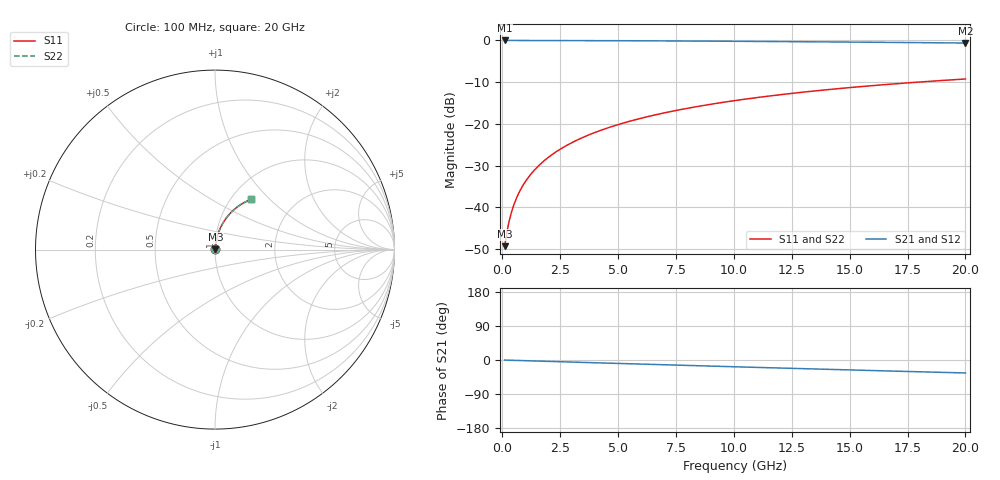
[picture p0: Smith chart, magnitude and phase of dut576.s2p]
! Touchstone file exported from HFSS 2026.1.0
!  File:  C:/ffzhzh/LocalFiles/Ansys_Project_Files/temp_train_BSMRDL_576_1783015595_4048.aedt
!  Generated:  02:08:01 AM Jul  3, 2026
!  Design:  BSMRDL
!  Project:  temp_train_BSMRDL_576_1783015595_4048
! Variables:
!  h_bsmrdl = 3.37um
!  h_ox = 20um
!  h_rdl = 5um
!  h_sub = 80um
!  h_tmrdl = 5um
!  h_tsv = 80um
!  h_via = 3um
!  l_bsmrdl = 465.57um
!  l_sub = 865.57um
!  l_tmrdl = 200um
!  m_sub = 200um
!  pitch = 47.95um
!  r_tsv = 6um
!  s_tmrdl = 10um
!  w_bsmrdl = 19.7um
!  w_sub = 500um
!  w_tmrdl = 12um
!  x_tsv_center1 = 206um
!  x_tsv_center2 = 691.27um
!  x_tsv_center3 = 903.27um
!  x_tsv_center4 = 1388.54um
!  x_tsv_center5 = 1600.54um
!  x_tsv_center6 = 2085.81um
# GHz S MA R 50.000000
! Terminal data exported
! Port[1] = BSM_RDL1_1_T1
! Port[2] = BSM_RDL1_1_T2
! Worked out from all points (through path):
!   200 points, 100 MHz to 20 GHz, reference 50 ohm
!   highest |S21| = -0.02 dB at 100 MHz (marker M1); lowest = -0.6 dB at 20 GHz (marker M2)
!   group delay of S21, straight-line fit = 4.76 ps
!   lowest |S11| = -49.3 dB at 100 MHz (marker M3), VSWR 1.01, Z = 50.3 + j0.215 ohm
!   |S11| at or under -10 dB: start of sweep to 17.96 GHz
!   |S22| runs from -49.3 to -9.3 dB; largest |S21 - S12| = 3.2e-15
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0.1  0.003428 38.5  0.9973 -0.2  0.9973 -0.2  0.003428 38.5
! Gamma 0 0 0 0
! Port Impedance 50 0 50 0
0.2  0.005068 56.5  0.9972 -0.4  0.9972 -0.4  0.005068 56.5
0.3  0.00692 64.9  0.9971 -0.6  0.9971 -0.6  0.00692 64.9
0.4  0.008818 69.5  0.997 -0.8  0.997 -0.8  0.008818 69.5
0.5  0.01073 72.5  0.9969 -0.9  0.9969 -0.9  0.01073 72.5
0.6  0.01264 74.5  0.9968 -1.1  0.9968 -1.1  0.01264 74.5
0.8  0.0165 77.2  0.9966 -1.5  0.9966 -1.5  0.0165 77.2
1.1  0.02232 79.4  0.9964 -2.0  0.9964 -2.0  0.02232 79.4
1.5  0.03013 80.7  0.9961 -2.8  0.9961 -2.8  0.03012 80.7
1.8  0.036 81.1  0.9959 -3.3  0.9959 -3.3  0.036 81.1
2.1  0.04187 81.2  0.9955 -3.8  0.9955 -3.8  0.04187 81.2
2.7  0.0536 81.0  0.9948 -4.9  0.9948 -4.9  0.0536 81.0
3.5  0.06917 80.3  0.9936 -6.4  0.9936 -6.4  0.06917 80.3
4.2  0.08268 79.3  0.9923 -7.6  0.9923 -7.6  0.08268 79.4
5  0.09797 78.2  0.9905 -9.1  0.9905 -9.1  0.09797 78.2
5.9  0.115 76.8  0.9883 -10.7  0.9883 -10.7  0.115 76.8
6.8  0.1317 75.3  0.9858 -12.3  0.9858 -12.3  0.1317 75.3
8.3  0.1591 72.9  0.9811 -14.9  0.9811 -14.9  0.1591 72.9
10.1  0.191 69.9  0.9747 -18.0  0.9747 -18.0  0.191 69.9
13.4  0.2464 64.5  0.9611 -23.6  0.9611 -23.6  0.2464 64.6
16.7  0.2978 59.3  0.9458 -29.0  0.9458 -29.0  0.2977 59.3
20  0.3447 54.2  0.9293 -34.2  0.9293 -34.2  0.3447 54.3
